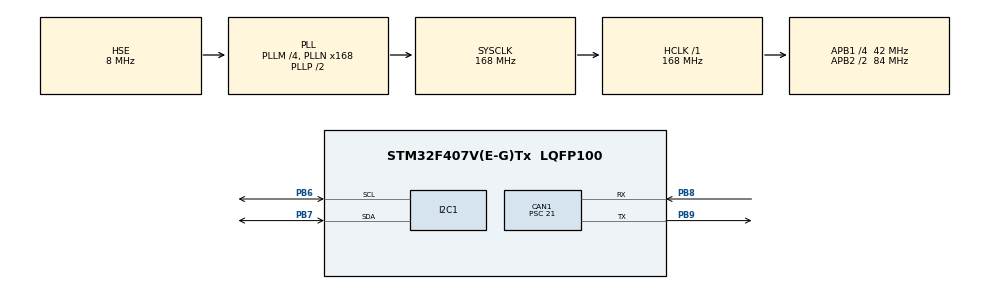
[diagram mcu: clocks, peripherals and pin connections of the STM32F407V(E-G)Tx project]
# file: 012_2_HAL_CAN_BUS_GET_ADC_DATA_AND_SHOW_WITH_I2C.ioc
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CAN1.BS1=CAN_BS1_12TQ
CAN1.BS2=CAN_BS2_4TQ
CAN1.CalculateBaudRate=117647
CAN1.CalculateTimeBit=8500
CAN1.CalculateTimeQuantum=500.0
CAN1.Prescaler=21
Mcu.Family=STM32F4
Mcu.Name=STM32F407V(E-G)Tx
Mcu.Package=LQFP100
NVIC.CAN1_RX0_IRQn=true\:0\:0\:false\:false\:true\:true\:true\:true
NVIC.PriorityGroup=NVIC_PRIORITYGROUP_0
PB6.Mode=I2C
PB6.Signal=I2C1_SCL
PB7.Mode=I2C
PB7.Signal=I2C1_SDA
PB8.Mode=CAN_Activate
PB8.Signal=CAN1_RX
PB9.Mode=CAN_Activate
PB9.Signal=CAN1_TX
PH0-OSC_IN.Mode=HSE-External-Oscillator
PH0-OSC_IN.Signal=RCC_OSC_IN
PH1-OSC_OUT.Mode=HSE-External-Oscillator
PH1-OSC_OUT.Signal=RCC_OSC_OUT
ProjectManager.HeapSize=0x200
ProjectManager.StackSize=0x400
ProjectManager.TargetToolchain=STM32CubeIDE
RCC.48MHZClocksFreq_Value=48000000
RCC.AHBFreq_Value=168000000
RCC.APB1CLKDivider=RCC_HCLK_DIV4
RCC.APB1Freq_Value=42000000
RCC.APB1TimFreq_Value=84000000
RCC.APB2CLKDivider=RCC_HCLK_DIV2
RCC.APB2Freq_Value=84000000
RCC.APB2TimFreq_Value=168000000
RCC.CortexFreq_Value=168000000
RCC.HCLKFreq_Value=168000000
RCC.HSE_VALUE=8000000
RCC.HSI_VALUE=16000000
RCC.LSE_VALUE=32768
RCC.PLLM=4
RCC.PLLN=168
RCC.PLLQ=7
RCC.PLLSourceVirtual=RCC_PLLSOURCE_HSE
RCC.SYSCLKFreq_VALUE=168000000
RCC.SYSCLKSource=RCC_SYSCLKSOURCE_PLLCLK
RCC.VCOOutputFreq_Value=336000000
board=STM32F407G-DISC1

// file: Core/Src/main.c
/* USER CODE BEGIN Header */
/**
  ******************************************************************************
  * @file           : main.c
  * @brief          : Main program body
  ******************************************************************************
  * @attention
  *
  * Copyright (c) 2023 STMicroelectronics.
  * All rights reserved.
  *
  * This software is licensed under terms that can be found in the LICENSE file
  * in the root directory of this software component.
  * If no LICENSE file comes with this software, it is provided AS-IS.
  *
  ******************************************************************************
  */
/* USER CODE END Header */
#include "main.h"

/* USER CODE BEGIN Includes */
#include "i2c-lcd.h"

/* USER CODE END Includes */

CAN_HandleTypeDef hcan1;

I2C_HandleTypeDef hi2c1;

/* USER CODE BEGIN PV */

CAN_TxHeaderTypeDef pHeader;
CAN_RxHeaderTypeDef pRxHeader;
CAN_FilterTypeDef sFilterConfig;

uint8_t rAdc_value;

/* USER CODE END PV */

void SystemClock_Config(void);
static void MX_GPIO_Init(void);
static void MX_CAN1_Init(void);
static void MX_I2C1_Init(void);

int main(void)
{

  /* MCU Configuration--------------------------------------------------------*/

  /* Reset of all peripherals, Initializes the Flash interface and the Systick. */
  HAL_Init();

  /* Configure the system clock */
  SystemClock_Config();

  /* Initialize all configured peripherals */
  MX_GPIO_Init();
  MX_CAN1_Init();
  MX_I2C1_Init();
  /* USER CODE BEGIN 2 */

  pHeader.DLC = 1;
  pHeader.IDE = CAN_ID_STD;
  pHeader.RTR = CAN_RTR_DATA;
  pHeader.StdId = 0x0156;

  sFilterConfig.FilterActivation = ENABLE;
  sFilterConfig.FilterBank = 0;
  sFilterConfig.FilterFIFOAssignment = CAN_FILTER_FIFO0;
  sFilterConfig.FilterIdHigh = 0;
  sFilterConfig.FilterIdLow = 0;
  sFilterConfig.FilterMaskIdHigh = 0;
  sFilterConfig.FilterMaskIdLow = 0;
  sFilterConfig.FilterMode = CAN_FILTERMODE_IDMASK;
  sFilterConfig.FilterScale = CAN_FILTERSCALE_16BIT;

  HAL_CAN_ConfigFilter(&hcan1, &sFilterConfig);

  HAL_CAN_Start(&hcan1);

  HAL_CAN_ActivateNotification(&hcan1, CAN_IT_RX_FIFO0_MSG_PENDING);

  lcd_init();

  lcd_send_string("CAN BUS ADC");

  HAL_Delay(2000);

  /* USER CODE END 2 */

  /* Infinite loop */
  while (1)
  {

  }
}

void SystemClock_Config(void)
{
  RCC_OscInitTypeDef RCC_OscInitStruct = {0};
  RCC_ClkInitTypeDef RCC_ClkInitStruct = {0};

  /** Configure the main internal regulator output voltage
  */
  __HAL_RCC_PWR_CLK_ENABLE();
  __HAL_PWR_VOLTAGESCALING_CONFIG(PWR_REGULATOR_VOLTAGE_SCALE1);

  /** Initializes the RCC Oscillators according to the specified parameters
  * in the RCC_OscInitTypeDef structure.
  */
  RCC_OscInitStruct.OscillatorType = RCC_OSCILLATORTYPE_HSE;
  RCC_OscInitStruct.HSEState = RCC_HSE_ON;
  RCC_OscInitStruct.PLL.PLLState = RCC_PLL_ON;
  RCC_OscInitStruct.PLL.PLLSource = RCC_PLLSOURCE_HSE;
  RCC_OscInitStruct.PLL.PLLM = 4;
  RCC_OscInitStruct.PLL.PLLN = 168;
  RCC_OscInitStruct.PLL.PLLP = RCC_PLLP_DIV2;
  RCC_OscInitStruct.PLL.PLLQ = 7;
  if (HAL_RCC_OscConfig(&RCC_OscInitStruct) != HAL_OK)
  {
    Error_Handler();
  }

  /** Initializes the CPU, AHB and APB buses clocks
  */
  RCC_ClkInitStruct.ClockType = RCC_CLOCKTYPE_HCLK|RCC_CLOCKTYPE_SYSCLK
                              |RCC_CLOCKTYPE_PCLK1|RCC_CLOCKTYPE_PCLK2;
  RCC_ClkInitStruct.SYSCLKSource = RCC_SYSCLKSOURCE_PLLCLK;
  RCC_ClkInitStruct.AHBCLKDivider = RCC_SYSCLK_DIV1;
  RCC_ClkInitStruct.APB1CLKDivider = RCC_HCLK_DIV4;
  RCC_ClkInitStruct.APB2CLKDivider = RCC_HCLK_DIV2;

  if (HAL_RCC_ClockConfig(&RCC_ClkInitStruct, FLASH_LATENCY_5) != HAL_OK)
  {
    Error_Handler();
  }
}

static void MX_CAN1_Init(void)
{

  hcan1.Instance = CAN1;
  hcan1.Init.Prescaler = 21;
  hcan1.Init.Mode = CAN_MODE_NORMAL;
  hcan1.Init.SyncJumpWidth = CAN_SJW_1TQ;
  hcan1.Init.TimeSeg1 = CAN_BS1_12TQ;
  hcan1.Init.TimeSeg2 = CAN_BS2_4TQ;
  hcan1.Init.TimeTriggeredMode = DISABLE;
  hcan1.Init.AutoBusOff = DISABLE;
  hcan1.Init.AutoWakeUp = DISABLE;
  hcan1.Init.AutoRetransmission = DISABLE;
  hcan1.Init.ReceiveFifoLocked = DISABLE;
  hcan1.Init.TransmitFifoPriority = DISABLE;
  if (HAL_CAN_Init(&hcan1) != HAL_OK)
  {
    Error_Handler();
  }

}

static void MX_I2C1_Init(void)
{

  hi2c1.Instance = I2C1;
  hi2c1.Init.ClockSpeed = 100000;
  hi2c1.Init.DutyCycle = I2C_DUTYCYCLE_2;
  hi2c1.Init.OwnAddress1 = 0;
  hi2c1.Init.AddressingMode = I2C_ADDRESSINGMODE_7BIT;
  hi2c1.Init.DualAddressMode = I2C_DUALADDRESS_DISABLE;
  hi2c1.Init.OwnAddress2 = 0;
  hi2c1.Init.GeneralCallMode = I2C_GENERALCALL_DISABLE;
  hi2c1.Init.NoStretchMode = I2C_NOSTRETCH_DISABLE;
  if (HAL_I2C_Init(&hi2c1) != HAL_OK)
  {
    Error_Handler();
  }

}

static void MX_GPIO_Init(void)
{

  /* GPIO Ports Clock Enable */
  __HAL_RCC_GPIOH_CLK_ENABLE();
  __HAL_RCC_GPIOB_CLK_ENABLE();

}

void Error_Handler(void)
{
  __disable_irq();
  while (1)
  {
  }
}
